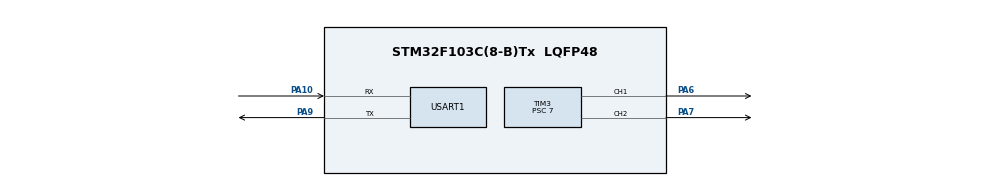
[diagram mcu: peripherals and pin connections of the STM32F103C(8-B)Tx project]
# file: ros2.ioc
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Mcu.Family=STM32F1
Mcu.Name=STM32F103C(8-B)Tx
Mcu.Package=LQFP48
NVIC.PriorityGroup=NVIC_PRIORITYGROUP_4
PA10.Mode=Asynchronous
PA10.Signal=USART1_RX
PA13.Mode=Serial_Wire
PA13.Signal=SYS_JTMS-SWDIO
PA14.Mode=Serial_Wire
PA14.Signal=SYS_JTCK-SWCLK
PA6.Signal=S_TIM3_CH1
PA7.Signal=S_TIM3_CH2
PA9.Mode=Asynchronous
PA9.Signal=USART1_TX
ProjectManager.HeapSize=0x200
ProjectManager.StackSize=0x400
ProjectManager.TargetToolchain=MDK-ARM V5.32
RCC.APB1Freq_Value=8000000
RCC.APB2Freq_Value=8000000
SH.S_TIM3_CH1.0=TIM3_CH1,PWM Generation1 CH1
SH.S_TIM3_CH2.0=TIM3_CH2,PWM Generation2 CH2
TIM3.Channel-PWM\ Generation1\ CH1=TIM_CHANNEL_1
TIM3.Channel-PWM\ Generation2\ CH2=TIM_CHANNEL_2
TIM3.Period=19999
TIM3.Prescaler=7
TIM3.Pulse-PWM\ Generation1\ CH1=1000
TIM3.Pulse-PWM\ Generation2\ CH2=1000
USART1.VirtualMode=VM_ASYNC
VP_TIM3_VS_ClockSourceINT.Mode=Internal
board=custom

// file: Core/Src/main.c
/* USER CODE BEGIN Header */
/**
  ******************************************************************************
  * @file           : main.c
  * @brief          : Main program body
  ******************************************************************************
  * @attention
  *
  * Copyright (c) 2026 STMicroelectronics.
  * All rights reserved.
  *
  * This software is licensed under terms that can be found in the LICENSE file
  * in the root directory of this software component.
  * If no LICENSE file comes with this software, it is provided AS-IS.
  *
  ******************************************************************************
  */
/* USER CODE END Header */
#include "main.h"
#include <string.h>

/* USER CODE BEGIN Includes */

#include "robot_dispatcher.h"
#include "robot_motion.h"
#include "robot_sample_block.h"
#include "robot_sensor_catalog.h"
#include "robot_service_registry.h"
#include "robot_telemetry.h"
#include "robot_transport.h"
#include "robot_tx_scheduler.h"

/* USER CODE END Includes */

TIM_HandleTypeDef htim3;

UART_HandleTypeDef huart1;

/* USER CODE BEGIN PV */

RobotMotionController robot_motion;
RobotDispatcher robot_dispatcher;
RobotTransport robot_transport;
RobotSensorRegistry robot_sensor_registry;
RobotTelemetryAggregator robot_telemetry;
RobotTxScheduler robot_tx_scheduler;
RobotSampleManager robot_sample_manager;
uint8_t robot_telemetry_payload[
    ROBOT_TELEMETRY_BATCH_MAX_BYTES
];
uint8_t robot_tx_message[
    ROBOT_PROTOCOL_MAX_MESSAGE_SIZE
];

/* USER CODE END PV */

void SystemClock_Config(void);
static void MX_GPIO_Init(void);
static void MX_TIM3_Init(void);
static void MX_USART1_UART_Init(void);

/* USER CODE BEGIN 0 */

#define SERVO_MIN_PULSE 500
#define SERVO_MAX_PULSE 2500

static uint16_t Servo_Angle_To_Pulse(uint8_t angle)
{
    if (angle > 180) {
        angle = 180;
    }

    return SERVO_MIN_PULSE +
           (uint16_t)((SERVO_MAX_PULSE - SERVO_MIN_PULSE) * angle / 180);
}

/* PA6 / TIM3_CH1：上下舵机 pitch */
void Servo_Set_UpDown(uint8_t angle)
{
    __HAL_TIM_SET_COMPARE(
        &htim3,
        TIM_CHANNEL_1,
        Servo_Angle_To_Pulse(angle)
    );
}

/* PA7 / TIM3_CH2：左右舵机 yaw */
void Servo_Set_LeftRight(uint8_t angle)
{
    __HAL_TIM_SET_COMPARE(
        &htim3,
        TIM_CHANNEL_2,
        Servo_Angle_To_Pulse(angle)
    );
}

/*
 * robot_motion 的唯一硬件输出接口。
 * 协议层、限位和运动超时均不依赖 HAL 或定时器。
 */
static void Robot_Apply_Servo_Angles(
    uint8_t yaw_angle,
    uint8_t pitch_angle,
    void *user_context
)
{
    (void)user_context;

    Servo_Set_LeftRight(yaw_angle);
    Servo_Set_UpDown(pitch_angle);
}

/*
 * UART transport hardware callbacks. The transport owns buffering, counters,
 * and protocol delivery; these wrappers only adapt STM32 HAL.
 */
static bool Robot_UART_Arm_Receive(
    uint8_t *destination,
    void *user_context
)
{
    (void)user_context;

    return (
        HAL_UART_Receive_IT(
            &huart1,
            destination,
            1U
        ) == HAL_OK
    );
}

static bool Robot_UART_Write(
    const uint8_t *data,
    uint16_t length,
    uint32_t timeout_ms,
    void *user_context
)
{
    (void)user_context;

    return (
        HAL_UART_Transmit(
            &huart1,
            (uint8_t *)data,
            length,
            timeout_ms
        ) == HAL_OK
    );
}

static uint32_t Robot_UART_Get_Time(
    void *user_context
)
{
    (void)user_context;
    return HAL_GetTick();
}

static void Robot_Enqueue_Telemetry_Payload(
    uint8_t opcode,
    const uint8_t *payload,
    uint16_t payload_length,
    uint32_t key,
    uint32_t now_ms
)
{
    uint16_t message_length = 0U;
    const RobotMessagePolicy *policy;
    RobotProtocolMessage message;

    memset(&message, 0, sizeof(message));
    message.version = ROBOT_PROTOCOL_VERSION;
    message.flags = ROBOT_FLAG_REALTIME;
    message.src = ROBOT_NODE_STM32;
    message.dst = ROBOT_NODE_LINUX;
    message.service = ROBOT_SERVICE_TELEMETRY;
    message.opcode = opcode;
    message.seq = RobotProtocol_NextSequence(
        RobotDispatcher_GetProtocol(&robot_dispatcher)
    );
    message.payload_length = payload_length;
    message.payload = payload;

    policy = RobotServiceRegistry_Lookup(
        message.service,
        message.opcode
    );
    if (
        policy != NULL &&
        RobotProtocol_EncodeMessage(
            &message,
            robot_tx_message,
            sizeof(robot_tx_message),
            &message_length
        )
    )
    {
        (void)RobotTxScheduler_Enqueue(
            &robot_tx_scheduler,
            ROBOT_TX_BEST_EFFORT_LATEST,
            policy,
            key,
            robot_tx_message,
            message_length,
            now_ms
        );
    }
}

static void Robot_Queue_Telemetry(uint32_t now_ms)
{
    uint16_t payload_length = 0U;

    (void)RobotTelemetry_PollRegistry(
        &robot_telemetry,
        &robot_sensor_registry,
        now_ms
    );
    (void)RobotSampleManager_Poll(
        &robot_sample_manager,
        &robot_sensor_registry,
        now_ms
    );

    if (RobotTelemetry_BuildBatch(
        &robot_telemetry,
        now_ms,
        false,
        robot_telemetry_payload,
        sizeof(robot_telemetry_payload),
        &payload_length
    ))
    {
        Robot_Enqueue_Telemetry_Payload(
            ROBOT_TELEMETRY_BATCH,
            robot_telemetry_payload,
            payload_length,
            (
                ((uint32_t)ROBOT_SERVICE_TELEMETRY << 8U) |
                ROBOT_TELEMETRY_BATCH
            ),
            now_ms
        );
    }

    if (RobotSampleManager_BuildNext(
        &robot_sample_manager,
        now_ms,
        false,
        robot_telemetry_payload,
        sizeof(robot_telemetry_payload),
        &payload_length
    ))
    {
        const uint32_t sensor_key = (
            (uint32_t)robot_telemetry_payload[0] |
            ((uint32_t)robot_telemetry_payload[1] << 8U) |
            ((uint32_t)robot_telemetry_payload[2] << 16U)
        );
        Robot_Enqueue_Telemetry_Payload(
            ROBOT_TELEMETRY_SAMPLE_BLOCK,
            robot_telemetry_payload,
            payload_length,
            (
                ((uint32_t)ROBOT_TELEMETRY_SAMPLE_BLOCK << 24U) |
                sensor_key
            ),
            now_ms
        );
    }
}

static void Robot_Drain_Tx(uint32_t now_ms)
{
    uint16_t message_length = 0U;
    RobotProtocolMessage message;
    RobotProtocolContext *protocol =
        RobotDispatcher_GetProtocol(&robot_dispatcher);

    if (
        !RobotTxScheduler_TakeNext(
            &robot_tx_scheduler,
            now_ms,
            robot_tx_message,
            sizeof(robot_tx_message),
            &message_length
        ) ||
        RobotProtocol_DecodeMessage(
            robot_tx_message,
            message_length,
            &message
        ) != ROBOT_DECODE_OK
    )
    {
        return;
    }

    (void)RobotProtocol_SendMessage(
        protocol,
        message.flags,
        message.dst,
        message.service,
        message.opcode,
        message.seq,
        message.payload,
        message.payload_length
    );
}

/* USER CODE END 0 */

int main(void)
{

  /* MCU Configuration--------------------------------------------------------*/

  /* Reset of all peripherals, Initializes the Flash interface and the Systick. */
  HAL_Init();

  /* Configure the system clock */
  SystemClock_Config();

  /* Initialize all configured peripherals */
  MX_GPIO_Init();
  MX_TIM3_Init();
  MX_USART1_UART_Init();
  /* USER CODE BEGIN 2 */

HAL_TIM_PWM_Start(&htim3, TIM_CHANNEL_1);
HAL_TIM_PWM_Start(&htim3, TIM_CHANNEL_2);

RobotMotion_Init(
    &robot_motion,
    Robot_Apply_Servo_Angles,
    NULL,
    HAL_GetTick()
);

RobotTransport_Init(
    &robot_transport,
    NULL,
    Robot_UART_Arm_Receive,
    Robot_UART_Write,
    Robot_UART_Get_Time,
    NULL
);

RobotDispatcher_Init(
    &robot_dispatcher,
    &robot_motion,
    RobotTransport_Transmit,
    &robot_transport,
    HAL_GetTick()
);

if (!RobotSensorCatalog_Init(&robot_sensor_registry))
{
    Error_Handler();
}

RobotDispatcher_SetSensorRegistry(
    &robot_dispatcher,
    &robot_sensor_registry
);

RobotTelemetry_Init(&robot_telemetry, HAL_GetTick());
RobotTxScheduler_Init(&robot_tx_scheduler);
if (!RobotSampleManager_Init(
    &robot_sample_manager,
    &robot_sensor_registry
))
{
    Error_Handler();
}

robot_transport.protocol =
    RobotDispatcher_GetProtocol(
        &robot_dispatcher
    );

if (!RobotTransport_StartRx(&robot_transport))
{
    Error_Handler();
}

  /* USER CODE END 2 */

  /* Infinite loop */
  while (1)
  {

    /* USER CODE BEGIN 3 */

    uint32_t now_ms = HAL_GetTick();

    RobotDispatcher_SetTime(
        &robot_dispatcher,
        now_ms
    );
    (void)RobotTransport_Poll(
        &robot_transport
    );
    Robot_Queue_Telemetry(now_ms);
    Robot_Drain_Tx(now_ms);

    RobotMotion_Process(
        &robot_motion,
        HAL_GetTick()
    );
  }
  /* USER CODE END 3 */
}

void SystemClock_Config(void)
{
  RCC_OscInitTypeDef RCC_OscInitStruct = {0};
  RCC_ClkInitTypeDef RCC_ClkInitStruct = {0};

  /** Initializes the RCC Oscillators according to the specified parameters
  * in the RCC_OscInitTypeDef structure.
  */
  RCC_OscInitStruct.OscillatorType = RCC_OSCILLATORTYPE_HSI;
  RCC_OscInitStruct.HSIState = RCC_HSI_ON;
  RCC_OscInitStruct.HSICalibrationValue = RCC_HSICALIBRATION_DEFAULT;
  RCC_OscInitStruct.PLL.PLLState = RCC_PLL_NONE;
  if (HAL_RCC_OscConfig(&RCC_OscInitStruct) != HAL_OK)
  {
    Error_Handler();
  }

  /** Initializes the CPU, AHB and APB buses clocks
  */
  RCC_ClkInitStruct.ClockType = RCC_CLOCKTYPE_HCLK|RCC_CLOCKTYPE_SYSCLK
                              |RCC_CLOCKTYPE_PCLK1|RCC_CLOCKTYPE_PCLK2;
  RCC_ClkInitStruct.SYSCLKSource = RCC_SYSCLKSOURCE_HSI;
  RCC_ClkInitStruct.AHBCLKDivider = RCC_SYSCLK_DIV1;
  RCC_ClkInitStruct.APB1CLKDivider = RCC_HCLK_DIV1;
  RCC_ClkInitStruct.APB2CLKDivider = RCC_HCLK_DIV1;

  if (HAL_RCC_ClockConfig(&RCC_ClkInitStruct, FLASH_LATENCY_0) != HAL_OK)
  {
    Error_Handler();
  }
}

static void MX_TIM3_Init(void)
{

  TIM_ClockConfigTypeDef sClockSourceConfig = {0};
  TIM_MasterConfigTypeDef sMasterConfig = {0};
  TIM_OC_InitTypeDef sConfigOC = {0};

  htim3.Instance = TIM3;
  htim3.Init.Prescaler = 7;
  htim3.Init.CounterMode = TIM_COUNTERMODE_UP;
  htim3.Init.Period = 19999;
  htim3.Init.ClockDivision = TIM_CLOCKDIVISION_DIV1;
  htim3.Init.AutoReloadPreload = TIM_AUTORELOAD_PRELOAD_DISABLE;
  if (HAL_TIM_Base_Init(&htim3) != HAL_OK)
  {
    Error_Handler();
  }
  sClockSourceConfig.ClockSource = TIM_CLOCKSOURCE_INTERNAL;
  if (HAL_TIM_ConfigClockSource(&htim3, &sClockSourceConfig) != HAL_OK)
  {
    Error_Handler();
  }
  if (HAL_TIM_PWM_Init(&htim3) != HAL_OK)
  {
    Error_Handler();
  }
  sMasterConfig.MasterOutputTrigger = TIM_TRGO_RESET;
  sMasterConfig.MasterSlaveMode = TIM_MASTERSLAVEMODE_DISABLE;
  if (HAL_TIMEx_MasterConfigSynchronization(&htim3, &sMasterConfig) != HAL_OK)
  {
    Error_Handler();
  }
  sConfigOC.OCMode = TIM_OCMODE_PWM1;
  sConfigOC.Pulse = 1000;
  sConfigOC.OCPolarity = TIM_OCPOLARITY_HIGH;
  sConfigOC.OCFastMode = TIM_OCFAST_DISABLE;
  if (HAL_TIM_PWM_ConfigChannel(&htim3, &sConfigOC, TIM_CHANNEL_1) != HAL_OK)
  {
    Error_Handler();
  }
  if (HAL_TIM_PWM_ConfigChannel(&htim3, &sConfigOC, TIM_CHANNEL_2) != HAL_OK)
  {
    Error_Handler();
  }
  HAL_TIM_MspPostInit(&htim3);

}

static void MX_USART1_UART_Init(void)
{

  huart1.Instance = USART1;
  huart1.Init.BaudRate = 115200;
  huart1.Init.WordLength = UART_WORDLENGTH_8B;
  huart1.Init.StopBits = UART_STOPBITS_1;
  huart1.Init.Parity = UART_PARITY_NONE;
  huart1.Init.Mode = UART_MODE_TX_RX;
  huart1.Init.HwFlowCtl = UART_HWCONTROL_NONE;
  huart1.Init.OverSampling = UART_OVERSAMPLING_16;
  if (HAL_UART_Init(&huart1) != HAL_OK)
  {
    Error_Handler();
  }

}

static void MX_GPIO_Init(void)
{

  /* GPIO Ports Clock Enable */
  __HAL_RCC_GPIOA_CLK_ENABLE();

}

/* USER CODE BEGIN 4 */

void HAL_UART_RxCpltCallback(
    UART_HandleTypeDef *huart
)
{
    if (
        huart != NULL &&
        huart->Instance == USART1
    )
    {
        RobotTransport_OnRxCompleteFromIsr(
            &robot_transport
        );
    }
}

void HAL_UART_ErrorCallback(
    UART_HandleTypeDef *huart
)
{
    if (
        huart != NULL &&
        huart->Instance == USART1
    )
    {
        RobotTransport_OnErrorFromIsr(
            &robot_transport
        );
    }
}

/* USER CODE END 4 */

void Error_Handler(void)
{
  __disable_irq();
  while (1)
  {
  }
}
